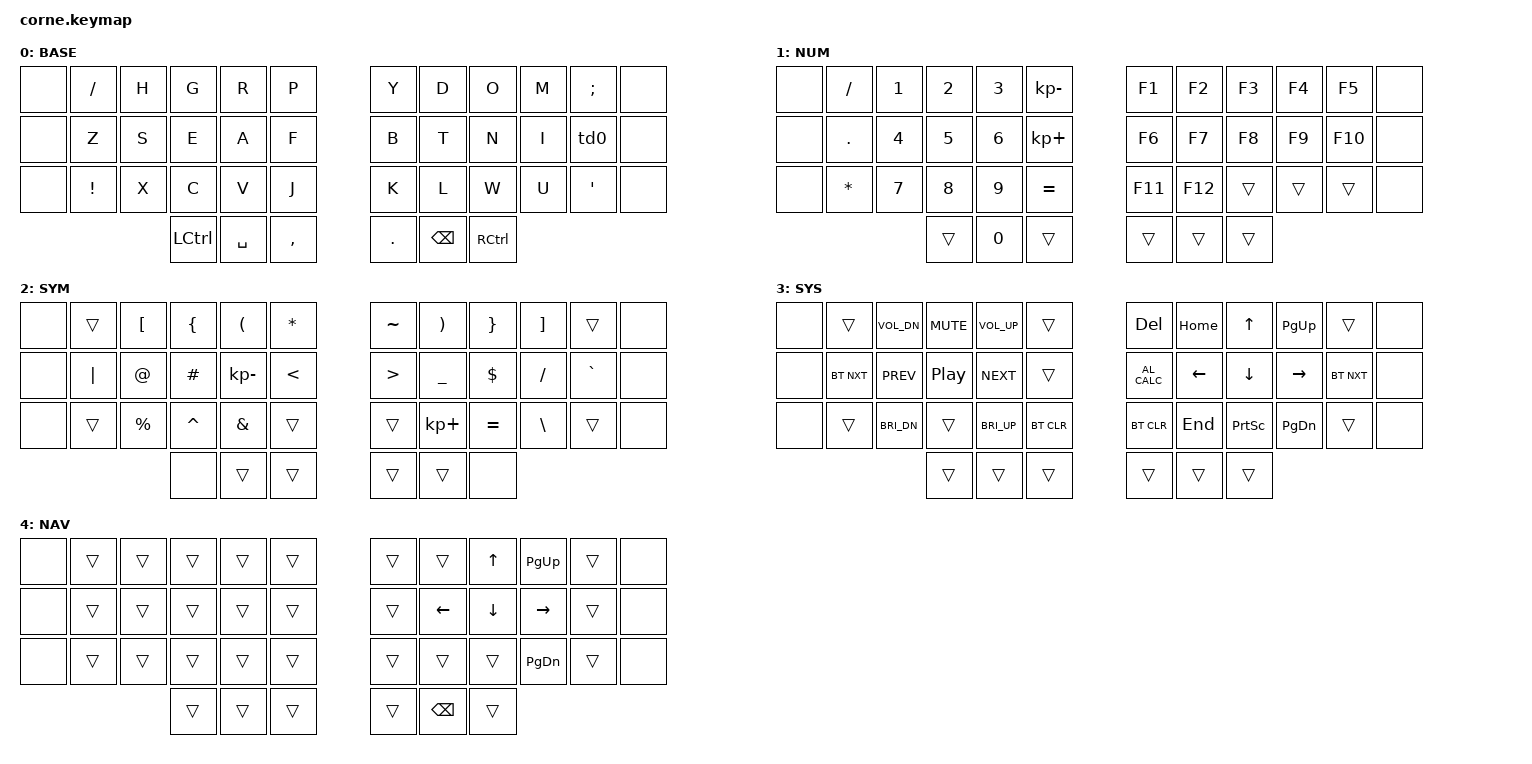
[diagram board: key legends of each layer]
/*
 * Copyright (c) 2020 The ZMK Contributors
 *
 * SPDX-License-Identifier: MIT
 */

#include <behaviors.dtsi>
#include <dt-bindings/zmk/keys.h>
#include <dt-bindings/zmk/bt.h>

#define BASE 0
#define NUM 1
#define SYM 2
#define SYS 3
#define NAV 4

/ {
    behaviors {
        td0: tap_dance_0 {
            compatible = "zmk,behavior-tap-dance";
            label = "TAP_DANCE_0";
            #binding-cells = <0>;
            tapping-term-ms = <240>;
            bindings = <&kp ENTER>, <&kp Q>;
        };
    };


    combos {
        compatible = "zmk,combos";
        
        combo_esc {
            timeout-ms = <42>;
            key-positions = <1 2>;
            bindings = <&kp ESC>;
        };
        
        combo_ltab {
            timeout-ms = <42>;
            key-positions = <2 3>;
            bindings = <&kp TAB>;
        };

        combo_lshift {
            timeout-ms = <42>;
            key-positions = <14 15>;
            bindings = <&kp RSHFT>;
        };

        combo_lcmd {
            timeout-ms = <42>;
            key-positions = <26 27>;
            bindings = <&kp RCMD>;
        };
        
        combo_lnum {
            timeout-ms = <42>;
            key-positions = <3 4>;
            bindings = <&mo 1>;
        };
        
        combo_lsym {
            timeout-ms = <42>;
            key-positions = <15 16>;
            bindings = <&mo 2>;
        };
        
        combo_lsys {
            timeout-ms = <42>;
            key-positions = <27 28>;
            bindings = <&mo 3>;
        };

        combo_ralt {
            timeout-ms = <42>;
            key-positions = <8 9>;
            bindings = <&kp RALT>;
        };

        combo_rshift {
            timeout-ms = <42>;
            key-positions = <20 21>;
            bindings = <&kp RSHFT>;
        };

        combo_rcmd {
            timeout-ms = <42>;
            key-positions = <32 33>;
            bindings = <&kp RCMD>;
        };

        combo_rnum {
            timeout-ms = <42>;
            key-positions = <7 8>;
            bindings = <&mo 1>;
        };
        
        combo_rsym {
            timeout-ms = <42>;
            key-positions = <19 20>;
            bindings = <&mo 2>;
        };

        combo_rsys {
            timeout-ms = <42>;
            key-positions = <31 32>;
            bindings = <&mo 3>;
        };

        combo_capslock {
            timeout-ms = <50>;
            key-positions = <19 20 21>;
            bindings = <&kp CAPS>;
        };
        
        combo_nav {
            timeout-ms = <50>;
            key-positions = <14 15 16>;
            bindings = <&tog NAV>;
        };
        
        
    };



        keymap {
                compatible = "zmk,keymap";

                BASE {

                        bindings = <
//        0 ' "    1     2     3     4       5     6      7      8      9  ; :  10      11   
        &none  &kp FSLH &kp H &kp G &kp R &kp P   &kp Y &kp D  &kp O  &kp M   &kp SEMI  &none  
//       12       13    14    15    16      17    18     19     20      21      22      23 
        &none  &kp Z    &kp S &kp E &kp A &kp F   &kp B &kp T  &kp N  &kp I   &td0      &none  
//       24 !     25    26    27    28      29    30     31     32      33/ ?   34      35
        &none  &kp EXCL &kp X &kp C &kp V &kp J   &kp K &kp L  &kp W  &kp U   &kp SQT  &none  
//               36         37      38                 39       40      41                 
             &kp LCTRL &kp SPACE &kp COMMA          &kp DOT &kp BSPC &kp RCTRL
                     
                     
                     >;
            };
            
                NUM {
                        bindings = <
   /*                /        1           2           3        -                 F1        F2         F3         F4        F5 */
          &none  &kp FSLH    &kp N1     &kp N2     &kp N3    &kp KP_MINUS     &kp F1    &kp F2     &kp F3     &kp F4    &kp F5   &none  
         /*          .        4           5           6        +                 F6        F7         F8         F9        F10  */
          &none  &kp DOT     &kp N4     &kp N5     &kp N6    &kp KP_PLUS      &kp F6    &kp F7     &kp F8     &kp F9    &kp F10  &none  
         /*          *        7           8           9        =                F11        F12                                 */
          &none  &kp STAR  &kp N7    &kp N8     &kp N9     &kp EQUAL        &kp F11   &kp F12    &trans     &trans     &trans    &none  
                                                    /*   0                      */
                                           &trans &kp N0 &trans           &trans &trans &trans
                           >;
             };

                SYM {
                        bindings = <
         /*                       [           {          (          *              ~          )           }        ]         */
             &none  &trans    &kp LBKT   &kp LBRC   &kp LPAR  &kp ASTRK      &kp TILDE  &kp RPAR    &kp RBRC  &kp RBKT   &trans  &none  
           /*             |       @           #           -         <              >          _           $        /           `  */
             &none  &kp PIPE  &kp AT     &kp HASH   &kp KP_MINUS &kp LT      &kp GT     &kp UNDER   &kp DOLLAR &kp FSLH  &kp GRAVE  &none  
           /*                     %           ^           &                                   +           =        \        */   
             &none  &trans    &kp PRCNT  &kp CARET  &kp AMPS   &trans        &trans    &kp KP_PLUS  &kp EQUAL &kp BSLH   &trans  &none  
                       /*                                                             */
                                                    &none  &trans &trans    &trans &trans  &none  
                        >;
                };
                
               
               SYS {
                        bindings = <
            &none  &trans      &kp C_VOL_DN    &kp C_MUTE         &kp C_VOL_UP     &trans             &kp DEL       &kp HOME   &kp UP    &kp PG_UP   &trans     &none  
            
            &none  &bt BT_NXT  &kp C_PREV      &kp C_PLAY_PAUSE   &kp C_NEXT       &trans             &kp C_AL_CALC &kp LEFT   &kp DOWN  &kp RIGHT   &bt BT_NXT &none  
                     
            &none  &trans      &kp C_BRI_DN    &trans             &kp C_BRI_UP     &bt BT_CLR         &bt BT_CLR    &kp END    &kp PSCRN &kp PG_DN   &trans     &none  
                                                       &trans &trans &trans                         &trans &trans &trans
                        
                        
                        >;
                   };
               
               NAV {
                        bindings = <

          &none  &trans  &trans  &trans  &trans   &trans       &trans   &trans     &kp UP     &kp PG_UP    &trans  &none  

          &none  &trans  &trans  &trans   &trans  &trans       &trans   &kp LEFT   &kp DOWN   &kp RIGHT &trans  &none  

          &none  &trans  &trans  &trans  &trans   &trans       &trans  &trans      &trans     &kp PG_DN    &trans  &none  

                                &trans &trans &trans               &trans &kp BSPC &trans
                        
                        >;
                   };
                   
        };
};

